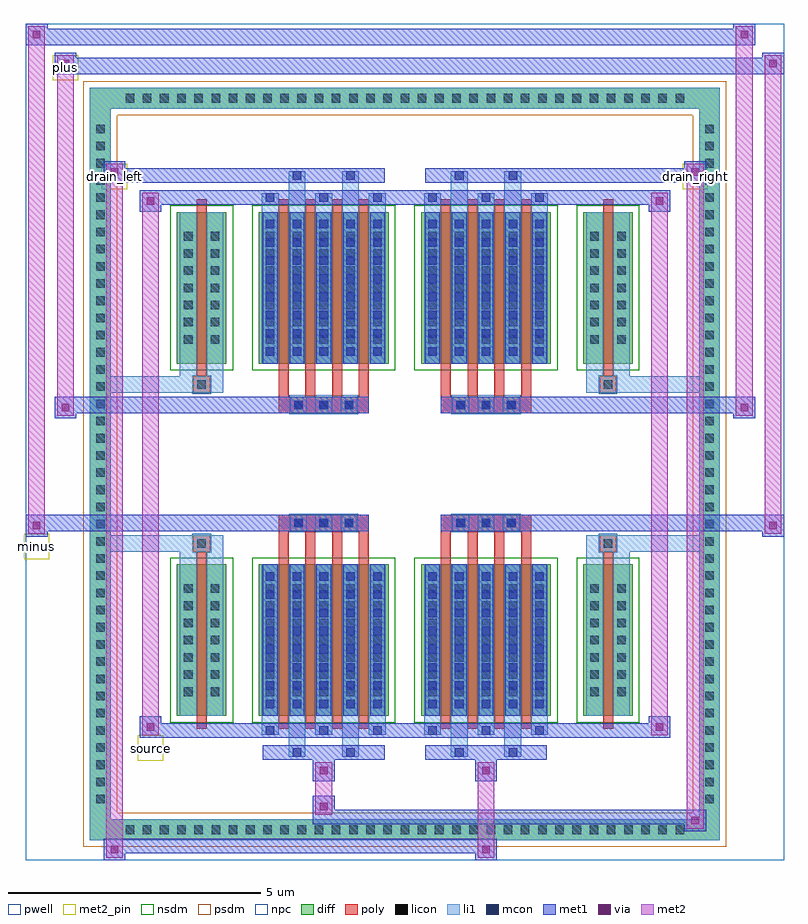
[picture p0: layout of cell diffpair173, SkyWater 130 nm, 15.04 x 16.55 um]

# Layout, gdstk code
import gdstk
lib = gdstk.Library(unit=1e-6, precision=5e-09)
def R(c, l, rs):  # rectangles x0, y0, x1, y1
    for r in rs: c.add(gdstk.rectangle(r[:2], r[2:], *l))
def A(c, l, x, y, w, h, nx, ny, dx, dy):  # array of equal rectangles
    R(c, l, [(x+i*dx, y+j*dy, x+i*dx+w, y+j*dy+h) for i in range(nx) for j in range(ny)])
def P(c, l, *ps):  # polygons
    for p in ps: c.add(gdstk.Polygon(p, *l))
pwell = (64, 44)
diff = (65, 20)
poly = (66, 20)
licon = (66, 44)
li1 = (67, 20)
mcon = (67, 44)
met1 = (68, 20)
via = (68, 44)
met2_pin = (69, 16)
met2 = (69, 20)
nsdm = (93, 44)
psdm = (94, 20)
npc = (95, 20)

diffpair173 = lib.new_cell('diffpair173')
R(diffpair173, pwell, [(-7.5,-7.84,7.5,8.71), (-4.82,-6.03,-0.01,-0.805), (0.01,-6.03,4.82,-0.805), (-4.82,0.805,-0.01,6.03), (0.01,0.805,4.82,6.03)])
A(diffpair173, diff, -5.645, -7.44, 0.41, 0.41, 33, 2, 0.34, 14.47)
A(diffpair173, diff, -6.23, -6.835, 0.41, 0.41, 1, 40, 0, 0.34)
A(diffpair173, diff, 5.82, -6.835, 0.41, 0.41, 1, 40, 0, 0.34)
R(diffpair173, diff, [(-5.645,-7.44,5.645,-7.03), (-6.23,-6.835,-5.82,6.835), (5.82,-6.835,6.23,6.835), (-4.51,-4.985,-3.53,-1.985), (-2.89,-4.985,-0.32,-1.985), (0.32,-4.985,2.89,-1.985), (3.53,-4.985,4.51,-1.985), (-4.51,1.985,-3.53,4.985), (-2.89,1.985,-0.32,4.985), (0.32,1.985,2.89,4.985), (3.53,1.985,4.51,4.985), (-5.645,7.03,5.645,7.44)])
P(diffpair173, diff, [(6.23,7.44),(-6.23,7.44),(-6.23,-7.03),(-5.82,-7.03),(-5.82,7.03),(5.82,7.03),(5.82,-7.03),(-5.82,-7.03),(-6.23,-7.03),(-6.23,-7.44),(6.23,-7.44)])
A(diffpair173, poly, -2.5, -5.235, 0.2, 3.5, 4, 2, 0.53, 6.97)
A(diffpair173, poly, 0.71, -5.235, 0.2, 3.5, 4, 2, 0.53, 6.97)
A(diffpair173, poly, -2.5, -1.735, 0.2, 0.4, 4, 2, 0.53, 3.07)
A(diffpair173, poly, 0.71, -1.735, 0.2, 0.4, 4, 2, 0.53, 3.07)
A(diffpair173, poly, -2.27, -1.335, 0.33, 0.33, 3, 2, 0.5, 2.34)
A(diffpair173, poly, 0.94, -1.335, 0.33, 0.33, 3, 2, 0.5, 2.34)
R(diffpair173, poly, [(-4.12,-5.235,-3.92,-1.735), (3.92,-5.235,4.12,-1.735), (-4.185,-1.735,-3.855,-1.405), (-4.185,-1.735,-3.855,-1.405), (3.855,-1.735,4.185,-1.405), (3.855,-1.735,4.185,-1.405), (-2.5,-1.335,-0.71,-1.005), (0.71,-1.335,2.5,-1.005), (-2.5,1.005,-0.71,1.335), (0.71,1.005,2.5,1.335), (-4.185,1.405,-3.855,1.735), (-4.185,1.405,-3.855,1.735), (3.855,1.405,4.185,1.735), (3.855,1.405,4.185,1.735), (-4.12,1.735,-3.92,5.235), (3.92,1.735,4.12,5.235)])
A(diffpair173, licon, -5.525, -7.32, 0.17, 0.17, 33, 2, 0.34, 14.47)
A(diffpair173, licon, -6.11, -6.715, 0.17, 0.17, 1, 40, 0, 0.34)
A(diffpair173, licon, 5.94, -6.715, 0.17, 0.17, 1, 40, 0, 0.34)
A(diffpair173, licon, -4.37, -4.59, 0.17, 0.17, 1, 7, 0, 0.34)
A(diffpair173, licon, -3.84, -4.59, 0.17, 0.17, 1, 7, 0, 0.34)
A(diffpair173, licon, -2.75, -4.59, 0.17, 0.17, 5, 7, 0.53, 0.34)
A(diffpair173, licon, 0.46, -4.59, 0.17, 0.17, 5, 7, 0.53, 0.34)
A(diffpair173, licon, 3.67, -4.59, 0.17, 0.17, 1, 7, 0, 0.34)
A(diffpair173, licon, 4.2, -4.59, 0.17, 0.17, 1, 7, 0, 0.34)
A(diffpair173, licon, -2.19, -1.255, 0.17, 0.17, 3, 2, 0.5, 2.34)
A(diffpair173, licon, 1.02, -1.255, 0.17, 0.17, 3, 2, 0.5, 2.34)
A(diffpair173, licon, -4.37, 2.38, 0.17, 0.17, 1, 7, 0, 0.34)
A(diffpair173, licon, -3.84, 2.38, 0.17, 0.17, 1, 7, 0, 0.34)
A(diffpair173, licon, -2.75, 2.38, 0.17, 0.17, 5, 7, 0.53, 0.34)
A(diffpair173, licon, 0.46, 2.38, 0.17, 0.17, 5, 7, 0.53, 0.34)
A(diffpair173, licon, 3.67, 2.38, 0.17, 0.17, 1, 7, 0, 0.34)
A(diffpair173, licon, 4.2, 2.38, 0.17, 0.17, 1, 7, 0, 0.34)
R(diffpair173, licon, [(-4.105,-1.655,-3.935,-1.485), (3.935,-1.655,4.105,-1.485), (-4.105,1.485,-3.935,1.655), (3.935,1.485,4.105,1.655)])
A(diffpair173, li1, -5.605, -7.4, 0.33, 0.33, 33, 2, 0.34, 14.47)
A(diffpair173, li1, -6.19, -6.795, 0.33, 0.33, 1, 40, 0, 0.34)
A(diffpair173, li1, 5.86, -6.795, 0.33, 0.33, 1, 40, 0, 0.34)
A(diffpair173, li1, -2.83, -5.36, 0.33, 0.375, 3, 2, 1.06, 10.345)
A(diffpair173, li1, -2.75, -5.36, 0.17, 0.17, 3, 2, 1.06, 10.55)
A(diffpair173, li1, 0.38, -5.36, 0.33, 0.375, 3, 2, 1.06, 10.345)
A(diffpair173, li1, 0.46, -5.36, 0.17, 0.17, 3, 2, 1.06, 10.55)
A(diffpair173, li1, -2.83, -4.985, 0.33, 3, 5, 2, 0.53, 6.97)
A(diffpair173, li1, 0.38, -4.985, 0.33, 3, 5, 2, 0.53, 6.97)
A(diffpair173, li1, -2.75, -4.83, 0.17, 0.17, 5, 8, 0.53, 0.36)
A(diffpair173, li1, -2.75, -4.83, 0.17, 2.69, 5, 2, 0.53, 6.97)
A(diffpair173, li1, 0.46, -4.83, 0.17, 0.17, 5, 8, 0.53, 0.36)
A(diffpair173, li1, 0.46, -4.83, 0.17, 2.69, 5, 2, 0.53, 6.97)
A(diffpair173, li1, -4.45, -4.67, 0.33, 0.33, 1, 7, 0, 0.34)
A(diffpair173, li1, -3.92, -4.67, 0.33, 0.33, 1, 7, 0, 0.34)
A(diffpair173, li1, -2.83, -4.67, 0.33, 0.33, 5, 7, 0.53, 0.34)
A(diffpair173, li1, 0.38, -4.67, 0.33, 0.33, 5, 7, 0.53, 0.34)
A(diffpair173, li1, 3.59, -4.67, 0.33, 0.33, 1, 7, 0, 0.34)
A(diffpair173, li1, 4.12, -4.67, 0.33, 0.33, 1, 7, 0, 0.34)
A(diffpair173, li1, -2.27, -1.335, 0.33, 0.33, 3, 2, 0.5, 2.34)
A(diffpair173, li1, 0.94, -1.335, 0.33, 0.33, 3, 2, 0.5, 2.34)
A(diffpair173, li1, -2.75, 2.14, 0.17, 0.17, 5, 8, 0.53, 0.36)
A(diffpair173, li1, 0.46, 2.14, 0.17, 0.17, 5, 8, 0.53, 0.36)
A(diffpair173, li1, -4.45, 2.3, 0.33, 0.33, 1, 7, 0, 0.34)
A(diffpair173, li1, -3.92, 2.3, 0.33, 0.33, 1, 7, 0, 0.34)
A(diffpair173, li1, -2.83, 2.3, 0.33, 0.33, 5, 7, 0.53, 0.34)
A(diffpair173, li1, 0.38, 2.3, 0.33, 0.33, 5, 7, 0.53, 0.34)
A(diffpair173, li1, 3.59, 2.3, 0.33, 0.33, 1, 7, 0, 0.34)
A(diffpair173, li1, 4.12, 2.3, 0.33, 0.33, 1, 7, 0, 0.34)
R(diffpair173, li1, [(-6.23,-7.44,-5.82,-7.03), (-6.23,-7.44,-5.82,-7.03), (-5.82,-7.44,5.82,-7.03), (5.82,-7.44,6.23,-7.03), (5.82,-7.44,6.23,-7.03), (-6.23,-7.03,-5.82,7.03), (5.82,-7.03,6.23,7.03), (-2.3,-5.79,-1.97,-4.985), (-2.22,-5.79,-2.05,-5.62), (-1.24,-5.79,-0.91,-4.985), (-1.16,-5.79,-0.99,-5.62), (0.91,-5.79,1.24,-4.985), (0.99,-5.79,1.16,-5.62), (1.97,-5.79,2.3,-4.985), (2.05,-5.79,2.22,-5.62), (-4.45,-4.985,-4.12,-1.985), (-3.92,-4.985,-3.59,-1.985), (3.59,-4.985,3.92,-1.985), (4.12,-4.985,4.45,-1.985), (-4.45,-1.985,-4.12,-1.405), (-3.92,-1.985,-3.59,-1.405), (3.59,-1.985,3.92,-1.405), (4.12,-1.985,4.45,-1.405), (-6.23,-1.735,-4.185,-1.405), (-4.45,-1.735,-4.185,-1.405), (-4.185,-1.735,-3.855,-1.405), (-3.855,-1.735,-3.59,-1.405), (3.59,-1.735,3.855,-1.405), (3.855,-1.735,4.185,-1.405), (3.855,-1.735,6.23,-1.405), (4.185,-1.735,4.45,-1.405), (-6.23,1.405,-4.185,1.735), (-4.45,1.405,-4.185,1.735), (-4.45,1.405,-4.12,1.985), (-4.185,1.405,-3.855,1.735), (-3.92,1.405,-3.59,1.985), (-3.855,1.405,-3.59,1.735), (3.59,1.405,3.855,1.735), (3.59,1.405,3.92,1.985), (3.855,1.405,4.185,1.735), (3.855,1.405,6.23,1.735), (4.12,1.405,4.45,1.985), (4.185,1.405,4.45,1.735), (-4.45,1.985,-4.12,4.985), (-3.92,1.985,-3.59,4.985), (3.59,1.985,3.92,4.985), (4.12,1.985,4.45,4.985), (-2.3,4.985,-1.97,5.79), (-1.24,4.985,-0.91,5.79), (0.91,4.985,1.24,5.79), (1.97,4.985,2.3,5.79), (-2.22,5.62,-2.05,5.79), (-1.16,5.62,-0.99,5.79), (0.99,5.62,1.16,5.79), (2.05,5.62,2.22,5.79), (-6.23,7.03,-5.82,7.44), (-6.23,7.03,-5.82,7.44), (-5.82,7.03,5.82,7.44), (5.82,7.03,6.23,7.44), (5.82,7.03,6.23,7.44)])
A(diffpair173, mcon, -2.75, -5.36, 0.17, 0.17, 3, 2, 1.06, 10.55)
A(diffpair173, mcon, 0.46, -5.36, 0.17, 0.17, 3, 2, 1.06, 10.55)
A(diffpair173, mcon, -2.75, -4.83, 0.17, 0.17, 5, 8, 0.53, 0.36)
A(diffpair173, mcon, 0.46, -4.83, 0.17, 0.17, 5, 8, 0.53, 0.36)
A(diffpair173, mcon, -2.19, -1.255, 0.17, 0.17, 3, 2, 0.5, 2.34)
A(diffpair173, mcon, 1.02, -1.255, 0.17, 0.17, 3, 2, 0.5, 2.34)
A(diffpair173, mcon, -2.75, 2.14, 0.17, 0.17, 5, 8, 0.53, 0.36)
A(diffpair173, mcon, 0.46, 2.14, 0.17, 0.17, 5, 8, 0.53, 0.36)
R(diffpair173, mcon, [(-2.22,-5.79,-2.05,-5.62), (-1.16,-5.79,-0.99,-5.62), (0.99,-5.79,1.16,-5.62), (2.05,-5.79,2.22,-5.62), (-2.22,5.62,-2.05,5.79), (-1.16,5.62,-0.99,5.79), (0.99,5.62,1.16,5.79), (2.05,5.62,2.22,5.79)])
A(diffpair173, met1, -2.81, -5.42, 0.29, 0.29, 3, 2, 1.06, 10.55)
A(diffpair173, met1, 0.4, -5.42, 0.29, 0.29, 3, 2, 1.06, 10.55)
A(diffpair173, met1, -2.81, -4.985, 0.29, 3, 5, 2, 0.53, 6.97)
A(diffpair173, met1, 0.4, -4.985, 0.29, 3, 5, 2, 0.53, 6.97)
A(diffpair173, met1, -2.81, -4.89, 0.29, 0.29, 5, 8, 0.53, 0.36)
A(diffpair173, met1, 0.4, -4.89, 0.29, 0.29, 5, 8, 0.53, 0.36)
A(diffpair173, met1, -2.25, -1.315, 0.29, 0.29, 3, 2, 0.5, 2.34)
A(diffpair173, met1, 0.96, -1.315, 0.29, 0.29, 3, 2, 0.5, 2.34)
A(diffpair173, met1, -2.81, 2.08, 0.29, 0.29, 5, 8, 0.53, 0.36)
A(diffpair173, met1, 0.4, 2.08, 0.29, 0.29, 5, 8, 0.53, 0.36)
R(diffpair173, met1, [(-5.96,-7.84,-5.53,-7.41), (1.39,-7.84,1.82,-7.41), (-5.96,-7.7,1.82,-7.41), (5.53,-7.27,5.96,-6.84), (-1.82,-7.13,5.96,-6.84), (-1.82,-6.99,-1.39,-6.56), (-1.82,-6.28,-1.39,-5.85), (1.39,-6.28,1.82,-5.85), (-2.81,-5.85,-0.4,-5.56), (-2.28,-5.85,-1.99,-5.56), (-1.22,-5.85,-0.93,-5.56), (0.4,-5.85,2.81,-5.56), (0.93,-5.85,1.22,-5.56), (1.99,-5.85,2.28,-5.56), (-5.25,-5.42,-4.82,-4.99), (-5.25,-5.42,-2.81,-5.13), (-2.81,-5.42,-0.4,-5.13), (-0.4,-5.42,0.4,-5.13), (0.4,-5.42,2.81,-5.13), (2.81,-5.42,5.25,-5.13), (4.82,-5.42,5.25,-4.99), (-7.5,-1.435,-7.07,-1.005), (7.07,-1.435,7.5,-1.005), (-7.5,-1.335,-0.71,-1.005), (-2.5,-1.335,-0.71,-1.005), (0.71,-1.335,2.5,-1.005), (0.71,-1.335,7.5,-1.005), (-6.93,0.905,-6.5,1.335), (6.5,0.905,6.93,1.335), (-6.93,1.005,-2.5,1.335), (-2.5,1.005,-0.71,1.335), (0.71,1.005,2.5,1.335), (2.5,1.005,6.93,1.335), (-5.25,4.99,-4.82,5.42), (4.82,4.99,5.25,5.42), (-5.25,5.13,-2.81,5.42), (-2.81,5.13,-0.4,5.42), (-0.4,5.13,0.4,5.42), (0.4,5.13,2.81,5.42), (2.81,5.13,5.25,5.42), (-5.96,5.56,-5.53,5.99), (-5.96,5.56,-2.81,5.85), (-2.81,5.56,-0.4,5.85), (-2.28,5.56,-1.99,5.85), (-1.22,5.56,-0.93,5.85), (0.4,5.56,2.81,5.85), (0.93,5.56,1.22,5.85), (1.99,5.56,2.28,5.85), (2.81,5.56,5.96,5.85), (5.53,5.56,5.96,5.99), (-6.93,7.71,-6.5,8.14), (-6.93,7.71,-4.82,8.04), (-4.82,7.71,4.82,8.04), (4.82,7.71,7.5,8.04), (7.07,7.71,7.5,8.14), (-7.5,8.28,-7.07,8.71), (-7.5,8.28,-4.82,8.61), (-4.82,8.28,4.82,8.61), (4.82,8.28,6.93,8.61), (6.5,8.28,6.93,8.71)])
R(diffpair173, via, [(-5.82,-7.7,-5.67,-7.55), (1.53,-7.7,1.68,-7.55), (5.67,-7.13,5.82,-6.98), (-1.68,-6.85,-1.53,-6.7), (-1.68,-6.14,-1.53,-5.99), (1.53,-6.14,1.68,-5.99), (-5.11,-5.28,-4.96,-5.13), (4.96,-5.28,5.11,-5.13), (-7.36,-1.295,-7.21,-1.145), (7.21,-1.295,7.36,-1.145), (-6.79,1.045,-6.64,1.195), (6.64,1.045,6.79,1.195), (-5.11,5.13,-4.96,5.28), (4.96,5.13,5.11,5.28), (-5.82,5.7,-5.67,5.85), (5.67,5.7,5.82,5.85), (-6.79,7.85,-6.64,8), (7.21,7.85,7.36,8), (-7.36,8.42,-7.21,8.57), (6.64,8.42,6.79,8.57)])
R(diffpair173, met2_pin, [(-5.285,-5.87,-4.785,-5.37), (-7.535,-1.885,-7.035,-1.385), (-5.995,5.44,-5.495,5.94), (5.495,5.44,5.995,5.94), (-6.965,7.59,-6.465,8.09)])
R(diffpair173, met2, [(-5.91,-7.79,-5.58,-7.46), (-5.91,-7.79,-5.58,5.94), (1.44,-7.79,1.77,-7.46), (1.44,-7.46,1.77,-6.23), (5.58,-7.22,5.91,-6.89), (5.58,-7.22,5.91,5.94), (-1.77,-6.94,-1.44,-6.61), (-1.77,-6.61,-1.44,-6.23), (-1.77,-6.23,-1.44,-5.9), (1.44,-6.23,1.77,-5.9), (-5.2,-5.37,-4.87,-5.04), (-5.2,-5.37,-4.87,5.37), (4.87,-5.37,5.2,-5.04), (4.87,-5.37,5.2,5.37), (-7.45,-1.385,-7.12,-1.055), (-7.45,-1.385,-7.12,8.66), (7.12,-1.385,7.45,-1.055), (7.12,-1.385,7.45,8.09), (-6.88,0.955,-6.55,1.285), (-6.88,0.955,-6.55,8.09), (6.55,0.955,6.88,1.285), (6.55,0.955,6.88,8.66), (-5.2,5.04,-4.87,5.37), (4.87,5.04,5.2,5.37), (-5.91,5.61,-5.58,5.94), (5.58,5.61,5.91,5.94), (-6.88,7.76,-6.55,8.09), (7.12,7.76,7.45,8.09), (-7.45,8.33,-7.12,8.66), (6.55,8.33,6.88,8.66)])
P(diffpair173, met2, [(7.45,-1.385),(7.45,-1.385),(7.45,-1.055),(7.45,-1.055)],
  [(7.45,7.76),(7.45,7.76),(7.45,8.09),(7.45,8.09)],
  [(-7.12,-1.385),(-7.12,-1.385),(-7.12,-1.055),(-7.12,-1.055)],
  [(-7.12,8.33),(-7.12,8.33),(-7.12,8.66),(-7.12,8.66)],
  [(6.88,0.955),(6.88,0.955),(6.88,1.285),(6.88,1.285)],
  [(6.88,8.33),(6.88,8.33),(6.88,8.66),(6.88,8.66)],
  [(-6.55,0.955),(-6.55,0.955),(-6.55,1.285),(-6.55,1.285)],
  [(-6.55,7.76),(-6.55,7.76),(-6.55,8.09),(-6.55,8.09)],
  [(-5.58,-7.79),(-5.58,-7.79),(-5.58,-7.46),(-5.58,-7.46)],
  [(-5.58,5.61),(-5.58,5.61),(-5.58,5.94),(-5.58,5.94)],
  [(5.91,-7.22),(5.91,-7.22),(5.91,-6.89),(5.91,-6.89)],
  [(5.91,5.61),(5.91,5.61),(5.91,5.94),(5.91,5.94)],
  [(-4.87,-5.37),(-4.87,-5.37),(-4.87,-5.04),(-4.87,-5.04)],
  [(-4.87,5.04),(-4.87,5.04),(-4.87,5.37),(-4.87,5.37)],
  [(5.2,-5.37),(5.2,-5.37),(5.2,-5.04),(5.2,-5.04)],
  [(5.2,5.04),(5.2,5.04),(5.2,5.37),(5.2,5.37)])
R(diffpair173, nsdm, [(-4.64,-5.115,-3.4,-1.855), (-3.02,-5.115,-0.19,-1.855), (0.19,-5.115,3.02,-1.855), (3.4,-5.115,4.64,-1.855), (-4.64,1.855,-3.4,5.115), (-3.02,1.855,-0.19,5.115), (0.19,1.855,3.02,5.115), (3.4,1.855,4.64,5.115)])
P(diffpair173, psdm, [(6.36,7.57),(-6.36,7.57),(-6.36,-6.9),(-5.69,-6.9),(-5.69,6.9),(5.69,6.9),(5.69,-6.9),(-5.69,-6.9),(-6.36,-6.9),(-6.36,-7.57),(6.36,-7.57)])
A(diffpair173, npc, -2.29, -1.355, 0.37, 0.37, 3, 2, 0.5, 2.34)
A(diffpair173, npc, 0.92, -1.355, 0.37, 0.37, 3, 2, 0.5, 2.34)
R(diffpair173, npc, [(-4.205,-1.755,-3.835,-1.385), (3.835,-1.755,4.205,-1.385), (-2.29,-1.355,-1.42,-0.985), (-2.29,-1.355,-1.42,-0.985), (-1.79,-1.355,-0.92,-0.985), (-1.79,-1.355,-0.92,-0.985), (0.92,-1.355,1.79,-0.985), (0.92,-1.355,1.79,-0.985), (1.42,-1.355,2.29,-0.985), (1.42,-1.355,2.29,-0.985), (-2.29,0.985,-1.42,1.355), (-2.29,0.985,-1.42,1.355), (-1.79,0.985,-0.92,1.355), (-1.79,0.985,-0.92,1.355), (0.92,0.985,1.79,1.355), (0.92,0.985,1.79,1.355), (1.42,0.985,2.29,1.355), (1.42,0.985,2.29,1.355), (-4.205,1.385,-3.835,1.755), (3.835,1.385,4.205,1.755)])
diffpair173.add(gdstk.Label('minus', (-7.285,-1.635), layer=69, texttype=5))
diffpair173.add(gdstk.Label('drain_right', (5.745,5.69), layer=69, texttype=5))
diffpair173.add(gdstk.Label('drain_left', (-5.745,5.69), layer=69, texttype=5))
diffpair173.add(gdstk.Label('source', (-5.035,-5.62), layer=69, texttype=5))
diffpair173.add(gdstk.Label('plus', (-6.715,7.84), layer=69, texttype=5))

lib.write_gds('diffpair173.gds')
